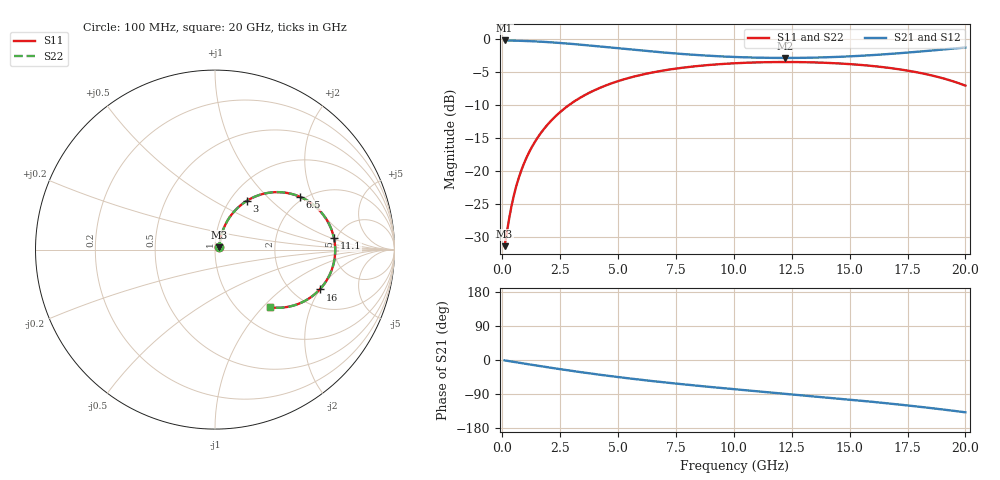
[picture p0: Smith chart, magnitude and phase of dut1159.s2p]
! Touchstone file exported from HFSS 2026.1.0
!  File:  C:/ffzhzh/LocalFiles/Ansys_Project_Files/temp_train_TSV_RDL_1159_1783312169_5512.aedt
!  Generated:  12:49:49 PM Jul  6, 2026
!  Design:  TSV_RDL
!  Project:  temp_train_TSV_RDL_1159_1783312169_5512
! Variables:
!  h_bsmrdl = 2.64um
!  h_ox = 20um
!  h_rdl = 5um
!  h_sub = 83.82um
!  h_tmrdl = 3.79um
!  h_tsv = 83.82um
!  h_via = 3um
!  l_bsmrdl = 384.59um
!  l_sub = 2345.52um
!  l_tmrdl = 174.65um
!  m_sub = 200um
!  pitch = 50.77um
!  r_tsv = 2.62um
!  s_tmrdl = 10um
!  w_bsmrdl = 14.5um
!  w_sub = 500um
!  w_tmrdl = 16.55um
!  x_tsv_center1 = 182.925um
!  x_tsv_center2 = 582.015um
!  x_tsv_center3 = 773.215um
!  x_tsv_center4 = 1172.305um
!  x_tsv_center5 = 1363.505um
!  x_tsv_center6 = 1762.595um
# GHz S MA R 50.000000
! Terminal data exported
! Port[1] = TM_RDL1_1_T1
! Port[2] = TM_RDL5_1_T1
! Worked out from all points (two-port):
!   200 points, 100 MHz to 20 GHz, reference 50 ohm
!   highest |S21| = -0.21 dB at 100 MHz (marker M1); lowest = -2.9 dB at 12.2 GHz (marker M2)
!   |S21| within 3 dB of the highest: start of sweep to end of sweep
!   lowest |S11| = -31.4 dB at 100 MHz (marker M3), VSWR 1.06, Z = 52.5 + j1.24 ohm
!   |S11| at or under -10 dB: start of sweep to 2.887 GHz
!   |S22| runs from -31.4 to -3.5 dB; largest |S21 - S12| = 7e-14
!   S11 on the Smith chart (normalised r, x): 100 MHz: 1.05, +0.02; 3 GHz: 1.19, +0.73; 6.5 GHz: 1.90, +1.62; 11.1 GHz: 4.74, +1.07; 16 GHz: 2.74, -1.99; 20 GHz: 1.37, -1.10
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0.1  0.02682 26.2  0.9761 -1.0  0.9761 -1.0  0.02682 26.2
! Gamma 0 0 0 0
! Port Impedance 50 0 50 0
0.3  0.04386 53.2  0.975 -3.0  0.975 -3.0  0.04386 53.2
0.5  0.0651 62.5  0.9733 -5.0  0.9733 -5.0  0.0651 62.5
0.8  0.0984 67.0  0.97 -8.0  0.97 -8.0  0.0984 67.0
1.1  0.1319 67.8  0.9658 -10.9  0.9658 -10.9  0.1319 67.8
1.5  0.1759 66.7  0.9587 -14.8  0.9587 -14.8  0.1759 66.7
1.9  0.2187 64.5  0.9499 -18.6  0.9499 -18.6  0.2187 64.5
2.4  0.2696 61.1  0.9369 -23.3  0.9369 -23.3  0.2696 61.1
3  0.3266 56.7  0.919 -28.7  0.919 -28.7  0.3266 56.7
3.5  0.3703 52.9  0.9027 -33.0  0.9027 -33.0  0.3703 52.9
4.9  0.4732 42.6  0.8549 -44.3  0.8549 -44.3  0.4732 42.6
6.5  0.5586 31.7  0.8038 -55.7  0.8038 -55.7  0.5586 31.7
6.8  0.5712 29.8  0.7953 -57.7  0.7953 -57.7  0.5712 29.8
8.4  0.6236 20.2  0.7569 -67.7  0.7569 -67.7  0.6236 20.2
10.1  0.6561 10.7  0.7306 -77.5  0.7306 -77.5  0.6561 10.7
11.1  0.666 5.4  0.7222 -83.0  0.7222 -83.0  0.666 5.4
12.2  0.6698 -0.3  0.7191 -89.0  0.7191 -89.0  0.6698 -0.3
13.4  0.6656 -6.6  0.7228 -95.6  0.7228 -95.6  0.6656 -6.6
16  0.6244 -20.8  0.7559 -110.4  0.7559 -110.4  0.6244 -20.8
16.7  0.6045 -24.9  0.7705 -114.8  0.7705 -114.8  0.6046 -24.9
18.5  0.5321 -36.1  0.8173 -126.8  0.8173 -126.8  0.5321 -36.1
20  0.4434 -46.4  0.8631 -138.0  0.8631 -138.0  0.4434 -46.4
